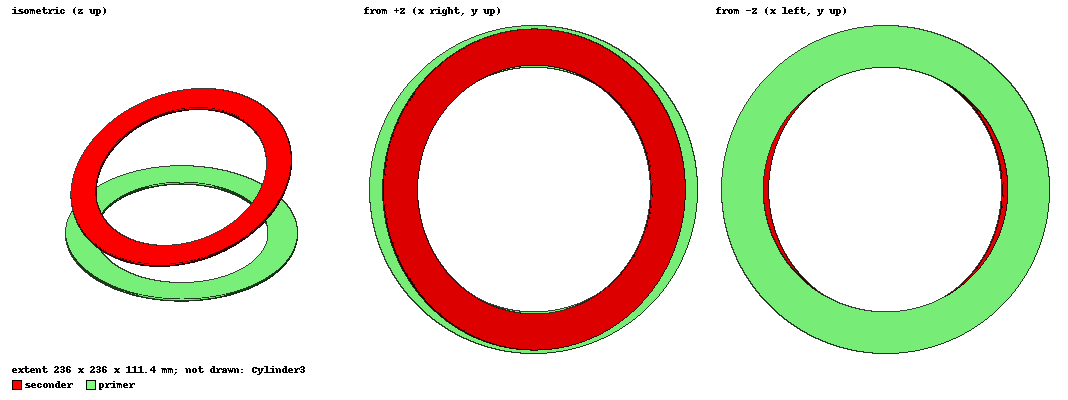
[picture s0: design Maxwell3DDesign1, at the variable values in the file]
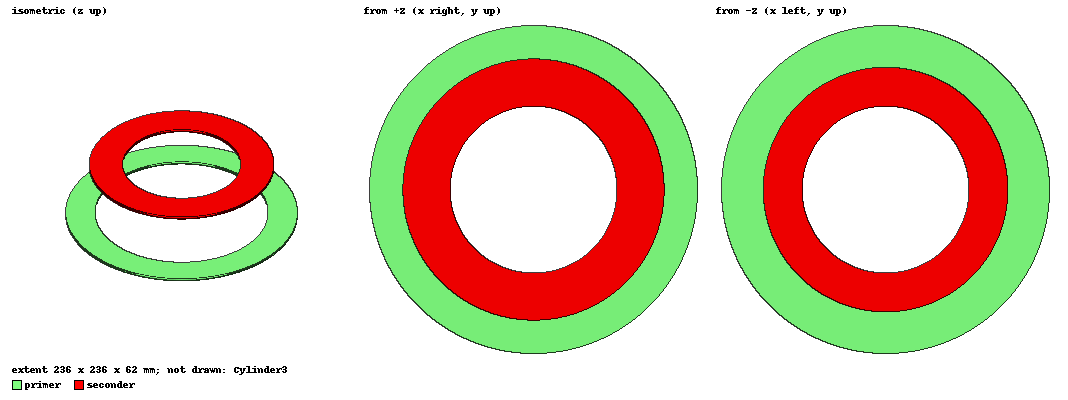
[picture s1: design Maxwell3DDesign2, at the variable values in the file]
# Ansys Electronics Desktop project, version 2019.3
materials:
  vacuum: permittivity=1
  copper: permeability=0.999991 conductivity=58000000

design Maxwell3DDesign1 (Maxwell 3D, Magnetostatic, model units mm)
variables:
  r_inner = 88mm
  ch = 2mm
  layer_p = 1
  r_outer = r_inner+ch*n_p
  d = 70mm
  deltaX = 0mm
  deltaY = 0mm
  alpha = 0
  r_outer_sec = r_inner_sec+ch*n_s
  layer_s = layer_p
  r_inner_sec = 89.5mm
  alfa = 20deg
  alfa_x = 0deg
  seconder_current = 1A
  primer_current = 1A
  n_p = 15
  n_s = 13
  np = n_p
  ns = n_s
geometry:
  Cylinder1 = cylinder(axis=Z, base_centre=(0mm, 0mm, 0mm), radius=r_inner, height=ch*layer_p)
  primer [copper] = cylinder(axis=Z, base_centre=(0mm, 0mm, 0mm), radius=r_outer, height=ch*layer_p)
  primer.subtract(Cylinder1)
  primer_section = primer.section(plane=YZ)
  primer_section2 = primer_section.separate_bodies()
  coordinate_system RelativeCS1 = origin=(deltaX, deltaY, d) x=(1mm, 0mm, 0mm) y=(0mm, 1mm, 0mm)
  seconder [copper] = cylinder(axis=Z, base_centre=(0mm, 0mm, 0mm), radius=r_outer_sec, height=ch*layer_s) in RelativeCS1
  Cylinder2 = cylinder(axis=Z, base_centre=(0mm, 0mm, 0mm), radius=r_inner_sec, height=ch*layer_s) in RelativeCS1
  seconder.subtract(Cylinder2)
  seconder_section [copper] = seconder.section(plane=YZ) in RelativeCS1
  seconder_section2 [copper] = seconder_section.separate_bodies()
  [seconder, seconder_section, seconder_section2].rotate(axis=Y, angle=alfa) in RelativeCS1
  [seconder, seconder_section, seconder_section2].rotate(axis=X, angle=alfa_x) in RelativeCS1
  Cylinder3 [vacuum] = cylinder(axis=Z, base_centre=(0mm, 0mm, -300mm), radius=300mm, height=600mm)
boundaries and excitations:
  Insulating1: Insulating Objects=[seconder, primer]
  ZeroTangentialHField1: Zero Tangential H Field Faces=Cylinder3.face(all 3)
  current_primer: Current Objects=primer_section Current=primer_current IsSolid=false Point_out_of_terminal=true
  current_seconder: Current Objects=seconder_section Current=seconder_current IsSolid=false Point_out_of_terminal=true
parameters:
  Matrix1: Matrix current_primer: NumberOfTurns=np; current_seconder: NumberOfTurns=ns
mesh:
  initial mesh: GlobalCurvilinear{Apply}
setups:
  Setup1: Magnetostatic MaximumPasses=10 MinimumPasses=2 MinimumConvergedPasses=1 PercentRefinement=30 PercentError=1 NonLinearResidual=0.001
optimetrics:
  ParametricSetup1: Parametric Sim._Setups=[Setup1]
    sweep alfa: LIN 0deg 30deg 5deg
  ParametricSetup2: Parametric Sim._Setups=[Setup1]
    sweep deltaX: LIN 0mm 60mm 10mm

design Maxwell3DDesign2 (Maxwell 3D, Magnetostatic, model units mm)
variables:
  r_inner = 88mm
  ch = 2mm
  layer_p = 1
  r_outer = r_inner+ch*n_p
  d = 60mm
  deltaX = 0mm
  deltaY = 0mm
  alpha = 0
  r_outer_sec = r_inner_sec+ch*n_s
  layer_s = layer_p
  r_inner_sec = 60mm
  alfa = 0deg
  alfa_x = 0deg
  seconder_current = 1A
  primer_current = 1A
  n_p = 15
  n_s = 17
  np = n_p
  ns = n_s
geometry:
  Cylinder1 = cylinder(axis=Z, base_centre=(0mm, 0mm, 0mm), radius=r_inner, height=ch*layer_p)
  primer [copper] = cylinder(axis=Z, base_centre=(0mm, 0mm, 0mm), radius=r_outer, height=ch*layer_p)
  primer.subtract(Cylinder1)
  primer_section = primer.section(plane=YZ)
  primer_section2 = primer_section.separate_bodies()
  coordinate_system RelativeCS1 = origin=(deltaX, deltaY, d) x=(1mm, 0mm, 0mm) y=(0mm, 1mm, 0mm)
  seconder [copper] = cylinder(axis=Z, base_centre=(0mm, 0mm, 0mm), radius=r_outer_sec, height=ch*layer_s) in RelativeCS1
  Cylinder2 = cylinder(axis=Z, base_centre=(0mm, 0mm, 0mm), radius=r_inner_sec, height=ch*layer_s) in RelativeCS1
  seconder.subtract(Cylinder2)
  seconder_section [copper] = seconder.section(plane=YZ) in RelativeCS1
  seconder_section2 [copper] = seconder_section.separate_bodies()
  [seconder, seconder_section, seconder_section2].rotate(axis=Y, angle=alfa) in RelativeCS1
  [seconder, seconder_section, seconder_section2].rotate(axis=X, angle=alfa_x) in RelativeCS1
  Cylinder3 [vacuum] = cylinder(axis=Z, base_centre=(0mm, 0mm, -300mm), radius=300mm, height=600mm)
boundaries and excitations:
  Insulating1: Insulating Objects=[seconder, primer]
  ZeroTangentialHField1: Zero Tangential H Field Faces=Cylinder3.face(all 3)
  current_primer: Current Objects=primer_section Current=primer_current IsSolid=false Point_out_of_terminal=true
  current_seconder: Current Objects=seconder_section Current=seconder_current IsSolid=false Point_out_of_terminal=true
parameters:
  Matrix1: Matrix current_primer: NumberOfTurns=np; current_seconder: NumberOfTurns=ns
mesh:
  initial mesh: GlobalCurvilinear{Apply}
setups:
  Setup1: Magnetostatic MaximumPasses=10 MinimumPasses=2 MinimumConvergedPasses=1 PercentRefinement=30 PercentError=1 NonLinearResidual=0.001
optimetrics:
  ParametricSetup1: Parametric Sim._Setups=[Setup1]
    sweep alfa: LIN 0deg 30deg 5deg
  ParametricSetup2: Parametric Sim._Setups=[Setup1]
    sweep deltaX: LIN 0mm 60mm 10mm
